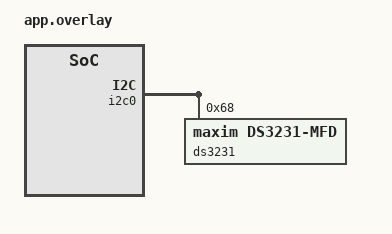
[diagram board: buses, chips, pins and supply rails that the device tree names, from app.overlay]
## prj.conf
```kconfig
CONFIG_GPIO=y
CONFIG_I2C=y
CONFIG_MFD=y
CONFIG_RTC=y
```

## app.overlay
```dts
&i2c0 {
	status = "okay";

	ds3231: ds3231@68 {
		compatible = "maxim,ds3231-mfd";
		reg = <0x68>;
		status = "okay";

		ds3231_rtc: ds3231_rtc {
			compatible = "maxim,ds3231-rtc";
			status = "okay";
			isw-gpios = <&gpio0 25 (GPIO_PULL_UP | GPIO_ACTIVE_LOW)>;
		};
	};
};
```

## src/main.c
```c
#include <zephyr/kernel.h>
#include <zephyr/device.h>
#include <zephyr/drivers/gpio.h>
#include <zephyr/drivers/rtc.h>
#include <zephyr/drivers/i2c.h>
#include <zephyr/sys/printk.h>
#include <math.h>
#include <stdint.h>

/* ---------------- CONFIGURACOES ---------------- */

#define LED_PIN             2

#define MPU6050_ADDR        0x69  /* AD0 conectado em 3.3V */
#define MPU6050_REG_PWR     0x6B
#define MPU6050_REG_ACCEL   0x3B
#define MPU6050_REG_GYRO    0x43

#define ACCEL_THRESHOLD     10.0f  /* m/s² */
#define AVG_THRESHOLD      5.0f    /* m/s² */

#define ACCEL_ALERT_TIME   10      /* segundos */
#define AVG_ALERT_TIME      5      /* segundos */

#define SAMPLE_INTERVAL_MS 100     /* amostragem a cada 100 ms */

/* ---------------- DISPOSITIVOS ---------------- */

static const struct device *gpio_dev =
    DEVICE_DT_GET(DT_NODELABEL(gpio0));

static const struct device *rtc_dev =
    DEVICE_DT_GET(DT_NODELABEL(ds3231_rtc));

static const struct device *i2c_dev =
    DEVICE_DT_GET(DT_NODELABEL(i2c0));

/* ---------------- VARIAVEIS ---------------- */

static int last_sec = -1;

static float accel_sum = 0.0f;
static uint32_t accel_samples = 0;

static int64_t accel_alert_until = 0;
static int64_t avg_alert_until = 0;

static int64_t last_avg_window = -1;

/* ---------------- MPU6050 ---------------- */

/* Escreve em um registrador do MPU6050 */
static int mpu_write(uint8_t reg, uint8_t value)
{
    uint8_t data[2] = {reg, value};

    return i2c_write(i2c_dev, data, sizeof(data), MPU6050_ADDR);
}

/* Leitura de registradores */
static int mpu_read_registers(uint8_t reg,
                              uint8_t *data,
                              uint8_t length)
{
    return i2c_write_read(i2c_dev,
                         MPU6050_ADDR,
                         &reg,
                         1,
                         data,
                         length);
}

/* Inicializacao do sensor */
static int mpu_init(void)
{
    int ret;

    /* Retira o MPU6050 do modo sleep */
    ret = mpu_write(MPU6050_REG_PWR, 0x00);

    if (ret < 0) {
        printk("Erro ao despertar MPU6050: %d\n", ret);
        return ret;
    }

    /* Acelerometro: escala +-2g */
    ret = mpu_write(0x1C, 0x00);

    if (ret < 0) {
        printk("Erro configurando acelerometro\n");
        return ret;
    }

    /* Giroscopio: escala +-250 graus/s */
    ret = mpu_write(0x1B, 0x00);

    if (ret < 0) {
        printk("Erro configurando giroscopio\n");
        return ret;
    }

    printk("MPU6050 inicializado!\n");

    return 0;
}

/* Le aceleracao e giroscopio */
static int mpu_read_data(float *ax, float *ay, float *az,
                         float *gx, float *gy, float *gz)
{
    uint8_t data[14];

    int ret = mpu_read_registers(MPU6050_REG_ACCEL,
                                  data,
                                  sizeof(data));

    if (ret < 0) {
        return ret;
    }

    /* Valores brutos de 16 bits */
    int16_t raw_ax = (int16_t)((data[0] << 8) | data[1]);
    int16_t raw_ay = (int16_t)((data[2] << 8) | data[3]);
    int16_t raw_az = (int16_t)((data[4] << 8) | data[5]);

    int16_t raw_gx = (int16_t)((data[8] << 8) | data[9]);
    int16_t raw_gy = (int16_t)((data[10] << 8) | data[11]);
    int16_t raw_gz = (int16_t)((data[12] << 8) | data[13]);

    /*
     * Acelerometro em +-2g:
     * 16384 LSB = 1g
     */
    *ax = (raw_ax / 16384.0f) * 9.80665f;
    *ay = (raw_ay / 16384.0f) * 9.80665f;
    *az = (raw_az / 16384.0f) * 9.80665f;

    /*
     * Giroscopio em +-250 graus/s:
     * 131 LSB = 1 grau/s
     */
    *gx = raw_gx / 131.0f;
    *gy = raw_gy / 131.0f;
    *gz = raw_gz / 131.0f;

    return 0;
}

/* ---------------- LED ---------------- */

static void update_led(struct rtc_time *tm)
{
    int64_t now = k_uptime_get();

    /*
     * Alertas tem prioridade sobre a logica
     * de piscar do RTC.
     */

    if (now < accel_alert_until) {
        gpio_pin_set(gpio_dev, LED_PIN, 1);
        return;
    }

    if (now < avg_alert_until) {
        gpio_pin_set(gpio_dev, LED_PIN, 1);
        return;
    }

    /*
     * Funcionalidade original:
     * LED pisca durante os primeiros 10 segundos
     * de cada minuto.
     */
    if (tm->tm_sec < 10) {
        gpio_pin_toggle(gpio_dev, LED_PIN);
    } else {
        gpio_pin_set(gpio_dev, LED_PIN, 0);
    }
}

/* ---------------- MAIN ---------------- */

int main(void)
{
    struct rtc_time tm;

    float ax, ay, az;
    float gx, gy, gz;

    float accel_magnitude;

    if (!device_is_ready(gpio_dev) ||
        !device_is_ready(rtc_dev) ||
        !device_is_ready(i2c_dev)) {

        printk("Erro: GPIO, RTC ou I2C nao esta pronto.\n");
        return 0;
    }

    gpio_pin_configure(gpio_dev,
                       LED_PIN,
                       GPIO_OUTPUT_INACTIVE);

    /* Inicializacao do MPU6050 */
    if (mpu_init() < 0) {
        printk("Falha na inicializacao do MPU6050.\n");
        return 0;
    }

    /* ---------------- RTC ---------------- */

    if (rtc_get_time(rtc_dev, &tm) < 0) {

        struct rtc_time init_tm = {
            .tm_year = 2026 - 1900,
            .tm_mon  = 11 - 1,
            .tm_mday = 13,
            .tm_hour = 13,
            .tm_min  = 40,
            .tm_sec  = 0,
        };

        rtc_set_time(rtc_dev, &init_tm);

        printk("Horario inicial gravado no DS3231.\n");
    }

    printk("Sistema iniciado!\n");

    printk("Monitorando acelerometro e giroscopio...\n");

    /* ---------------- LOOP ---------------- */

    while (1) {

        /* Leitura do RTC */
        if (rtc_get_time(rtc_dev, &tm) == 0) {

            /* Imprime horario a cada segundo */
            if (tm.tm_sec != last_sec) {

                last_sec = tm.tm_sec;

                printk("\nRTC: %02d:%02d:%02d\n",
                       tm.tm_hour,
                       tm.tm_min,
                       tm.tm_sec);
            }

            /* Leitura do MPU6050 */
            if (mpu_read_data(&ax, &ay, &az,
                              &gx, &gy, &gz) == 0) {

                /*
                 * Magnitude da aceleracao:
                 * sqrt(ax² + ay² + az²)
                 */
                accel_magnitude =
                    sqrtf(ax * ax +
                          ay * ay +
                          az * az);

                /* Monitor serial */
                printk("ACC X: %.2f m/s2 | "
                       "Y: %.2f | Z: %.2f | "
                       "Magnitude: %.2f m/s2\n",
                       ax, ay, az,
                       accel_magnitude);

                printk("GYRO X: %.2f deg/s | "
                       "Y: %.2f | Z: %.2f\n",
                       gx, gy, gz);

                /* ---------------- ALERTA 10s ---------------- */

                if (accel_magnitude > ACCEL_THRESHOLD) {

                    accel_alert_until =
                        k_uptime_get() +
                        (ACCEL_ALERT_TIME * 1000);

                    printk("!!! ALERTA: aceleracao "
                           "maior que 10 m/s2 !!!\n");
                }

                /* ---------------- MEDIA ---------------- */

                accel_sum += accel_magnitude;
                accel_samples++;

                /*
                 * Verifica a cada 30 segundos
                 * usando o RTC.
                 */
                if ((tm.tm_sec % 30 == 0) &&
                    (tm.tm_sec != last_avg_window)) {

                    last_avg_window = tm.tm_sec;

                    if (accel_samples > 0) {

                        float accel_avg =
                            accel_sum / accel_samples;

                        printk("\n===== MEDIA 30s =====\n");

                        printk("Media da aceleracao: %.2f m/s2\n",
                               accel_avg);

                        printk("Quantidade de amostras: %u\n",
                               accel_samples);

                        /* Reinicia acumuladores */
                        accel_sum = 0.0f;
                        accel_samples = 0;

                        /* ---------------- ALERTA 5s ---------------- */

                        if (accel_avg > AVG_THRESHOLD) {

                            avg_alert_until =
                                k_uptime_get() +
                                (AVG_ALERT_TIME * 1000);

                            printk("!!! ALERTA: media maior "
                                   "que 5 m/s2 !!!\n");

                            printk("LED ligado por 5 segundos.\n");
                        }
                    }
                }
            } else {
                printk("Erro na leitura do MPU6050!\n");
            }

            /* Atualiza LED */
            update_led(&tm);
        }

        k_msleep(SAMPLE_INTERVAL_MS);
    }

    return 0;
}
```
